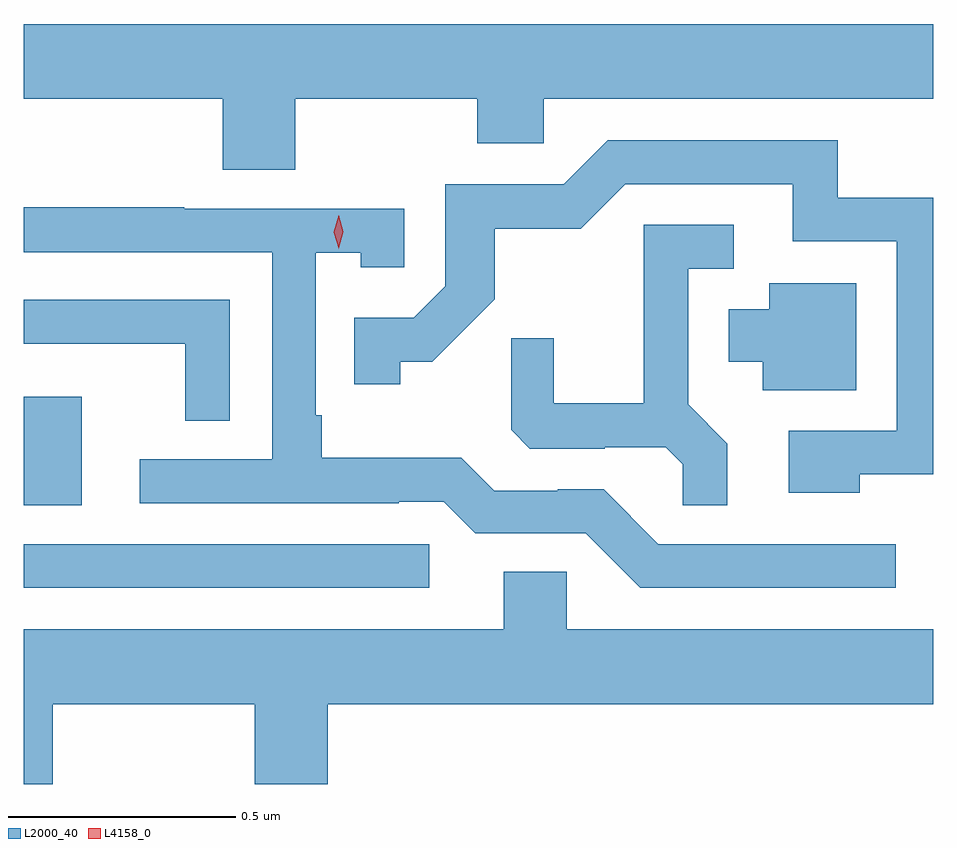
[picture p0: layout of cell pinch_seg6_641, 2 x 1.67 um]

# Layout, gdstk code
import gdstk
lib = gdstk.Library(unit=1e-6, precision=1e-09)
def R(c, l, rs):  # rectangles x0, y0, x1, y1
    for r in rs: c.add(gdstk.rectangle(r[:2], r[2:], *l))
def P(c, l, *ps):  # polygons
    for p in ps: c.add(gdstk.Polygon(p, *l))
L2000_40 = (2000, 40)
L4158_0 = (4158, 0)

pinch_seg6_641 = lib.new_cell('pinch_seg6_641')
R(pinch_seg6_641, L2000_40, [(449.634,970.236,450.526,970.332), (449.634,970.417,449.761,970.656)])
P(pinch_seg6_641, L2000_40, [(450.231,971.312),(450.631,971.312),(450.631,971.214),(450.777,971.214),(450.777,971.312),(451.634,971.312),(451.634,971.476),(449.634,971.476),(449.634,971.312),(450.071,971.312),(450.071,971.155),(450.231,971.155)],
  [(451.473,970.485),(451.634,970.485),(451.634,971.094),(451.424,971.094),(451.424,971.22),(450.918,971.22),(450.822,971.124),(450.561,971.124),(450.561,970.899),(450.492,970.83),(450.361,970.83),(450.361,970.683),(450.462,970.683),(450.462,970.733),(450.532,970.733),(450.67,970.87),(450.67,971.026),(450.859,971.026),(450.957,971.124),(451.325,971.124),(451.325,970.998),(451.554,970.998),(451.554,970.581),(451.317,970.581),(451.317,970.445),(451.473,970.445)],
  [(451.552,970.332),(451.029,970.332),(450.909,970.452),(450.808,970.452),(450.808,970.449),(450.669,970.449),(450.596,970.522),(450.289,970.522),(450.289,970.615),(450.276,970.615),(450.276,970.973),(450.375,970.973),(450.375,970.941),(450.471,970.941),(450.471,971.07),(449.987,971.07),(449.987,971.073),(449.634,971.073),(449.634,970.974),(450.18,970.974),(450.18,970.518),(449.889,970.518),(449.889,970.422),(450.458,970.422),(450.458,970.425),(450.558,970.425),(450.627,970.356),(450.87,970.356),(450.99,970.236),(451.552,970.236)],
  [(451.181,970.553),(451.095,970.639),(451.095,970.938),(451.195,970.938),(451.195,971.034),(450.998,971.034),(450.998,970.642),(450.8,970.642),(450.8,970.785),(450.706,970.785),(450.706,970.583),(450.747,970.542),(450.912,970.542),(450.912,970.545),(451.046,970.545),(451.083,970.508),(451.083,970.417),(451.181,970.417)],
  [(451.465,970.906),(451.274,970.906),(451.274,970.849),(451.184,970.849),(451.184,970.733),(451.259,970.733),(451.259,970.67),(451.465,970.67)],
  [(450.087,970.869),(449.634,970.869),(449.634,970.773),(449.989,970.773),(449.989,970.603),(450.087,970.603)],
  [(449.697,969.98),(450.142,969.98),(450.142,969.804),(450.302,969.804),(450.302,969.98),(451.634,969.98),(451.634,970.144),(450.828,970.144),(450.828,970.271),(450.689,970.271),(450.689,970.144),(449.634,970.144),(449.634,969.804),(449.697,969.804)])
P(pinch_seg6_641, L4158_0, [(450.327,970.982),(450.327,970.983),(450.316,971.018),(450.326,971.055),(450.326,971.055),(450.326,971.055),(450.336,971.019),(450.327,970.983)])

lib.write_gds('pinch_seg6_641.gds')
